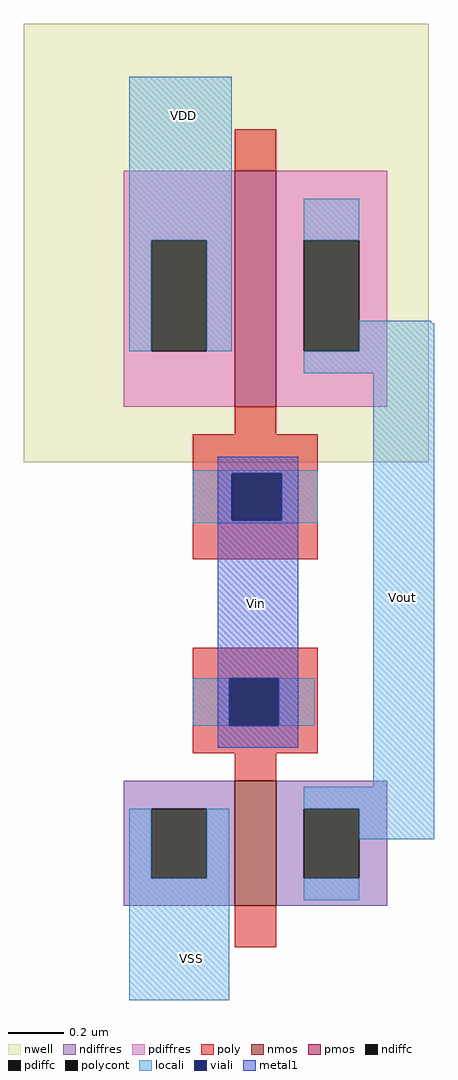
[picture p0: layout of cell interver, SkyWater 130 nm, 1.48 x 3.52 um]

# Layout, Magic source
magic
tech sky130A
<< nwell >>
rect -41 175 105 333
<< nmos >>
rect 35 15 50 60
<< pmos >>
rect 35 195 50 280
<< ndiffc >>
rect 5 25 25 50
rect 60 25 80 50
<< pdiffc >>
rect 5 215 25 255
rect 60 215 80 255
<< poly >>
rect 35 280 50 295
rect 35 185 50 195
rect 20 171 65 185
rect 20 154 34 171
rect 52 154 65 171
rect 20 140 65 154
rect 20 97 65 108
rect 20 80 33 97
rect 51 80 65 97
rect 20 70 65 80
rect 35 60 50 70
rect 35 0 50 15
<< polycont >>
rect 34 154 52 171
rect 33 80 51 97
<< ndiffres >>
rect -5 50 35 60
rect -5 25 5 50
rect 25 25 35 50
rect -5 15 35 25
rect 50 50 90 60
rect 50 25 60 50
rect 80 25 90 50
rect 50 15 90 25
<< pdiffres >>
rect -5 255 35 280
rect -5 215 5 255
rect 25 215 35 255
rect -5 195 35 215
rect 50 255 90 280
rect 50 215 60 255
rect 80 215 90 255
rect 50 195 90 215
<< locali >>
rect -3 255 34 314
rect -3 215 5 255
rect 25 215 34 255
rect 60 255 80 270
rect 80 225 106 226
rect 80 215 107 225
rect 60 207 107 215
rect 20 171 65 172
rect 20 154 34 171
rect 52 154 65 171
rect 20 153 65 154
rect 20 80 33 97
rect 51 80 64 97
rect 85 58 107 207
rect 60 50 107 58
rect -3 25 5 50
rect 25 25 33 50
rect -3 -19 33 25
rect 80 39 107 50
rect 60 17 80 25
<< viali >>
rect 34 154 52 171
rect 33 80 51 97
<< metal1 >>
rect 29 171 58 177
rect 29 154 34 171
rect 52 154 58 171
rect 29 97 58 154
rect 29 80 33 97
rect 51 80 58 97
rect 29 72 58 80
<< labels >>
flabel metal1 32 114 54 134 0 FreeSans 80 0 0 0 Vin
port 1 nsew
flabel locali 85 116 106 136 0 FreeSans 80 0 0 0 Vout
port 2 nsew
flabel locali 6 290 27 310 0 FreeSans 80 0 0 0 VDD
port 3 nsew
flabel locali 9 -14 30 6 0 FreeSans 80 0 0 0 VSS
port 5 nsew
<< end >>
